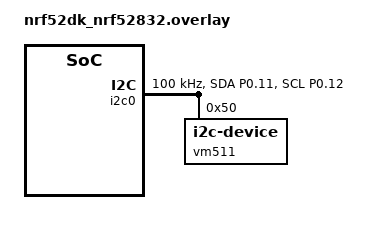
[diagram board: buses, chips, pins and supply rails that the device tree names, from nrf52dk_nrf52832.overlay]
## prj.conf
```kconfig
# Kernel
CONFIG_SERIAL=n#y

CONFIG_CLOCK_CONTROL_NRF_K32SRC_RC=y

CONFIG_BT=y
CONFIG_BT_PERIPHERAL=y
CONFIG_BT_DEVICE_NAME="VM_511"
CONFIG_BT_NUS=y
CONFIG_BT_NUS_LOG_LEVEL_INF=n
CONFIG_BT_MAX_CONN=1
CONFIG_BT_L2CAP_TX_BUF_COUNT=5


# Disable UART console — use RTT so uart0 is free for the sensor
CONFIG_UART_CONSOLE=n
CONFIG_USE_SEGGER_RTT=n#y
CONFIG_RTT_CONSOLE=n#y

# Logging via RTT
CONFIG_LOG=n#y
CONFIG_LOG_BACKEND_RTT=n#y
CONFIG_LOG_BACKEND_UART=n
CONFIG_LOG_DEFAULT_LEVEL=3

CONFIG_FLASH=y
CONFIG_FLASH_MAP=y
CONFIG_FLASH_PAGE_LAYOUT=y
CONFIG_NVS=y

CONFIG_I2C=y

CONFIG_BT_PERIPHERAL_PREF_MIN_INT=1200
CONFIG_BT_PERIPHERAL_PREF_MAX_INT=1200
CONFIG_BT_PERIPHERAL_PREF_LATENCY=0
CONFIG_BT_PERIPHERAL_PREF_TIMEOUT=350
CONFIG_BT_GAP_AUTO_UPDATE_CONN_PARAMS=y

CONFIG_BT_USER_PHY_UPDATE=y

CONFIG_GPIO=y
CONFIG_FPU=y
```

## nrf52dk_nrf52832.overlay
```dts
&pinctrl {
    i2c0_newdefault: i2c0_newdefault {
        group1 {
            psels = <NRF_PSEL(TWIM_SDA, 0, 11)>,
                    <NRF_PSEL(TWIM_SCL, 0, 12)>;
        };
    };

    i2c0_newsleep: i2c0_newsleep {
        group1 {
            psels = <NRF_PSEL(TWIM_SDA, 0, 11)>,
                    <NRF_PSEL(TWIM_SCL, 0, 12)>;
            low-power-enable;
        };
    };
};

&i2c0 {
    status = "okay";
    clock-frequency = <I2C_BITRATE_STANDARD>;
    pinctrl-0 = <&i2c0_newdefault>;       // ✅ moved here
    pinctrl-1 = <&i2c0_newsleep>;         // ✅ moved here
    pinctrl-names = "default", "sleep"; // ✅ required

    vm511: vm511@50 {
        compatible = "i2c-device";
        reg = <0x50>;
        // pinctrl does NOT go here
    };
};
```

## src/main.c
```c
#include <zephyr/kernel.h>
#include <zephyr/device.h>
#include <zephyr/devicetree.h>
#include <zephyr/drivers/i2c.h>
//#include <zephyr/logging/log.h>
#include <zephyr/bluetooth/bluetooth.h>
#include <zephyr/bluetooth/conn.h>
#include <zephyr/bluetooth/gap.h>
#include <bluetooth/services/nus.h>
#include <zephyr/drivers/flash.h>
#include <zephyr/fs/nvs.h>
#include <zephyr/storage/flash_map.h>

#include <stdint.h>
#include <string.h>
#include <stdlib.h>
#include <math.h>

//LOG_MODULE_REGISTER(VM511_BLE, LOG_LEVEL_INF);

/* ---------------- THREAD CONFIG ---------------- */

#define STACKSIZE 2048
#define PRIORITY_CALIB 6
#define PRIORITY_SEND 7
#define NOTIFY_INTERVAL 2000

/* ---------------- NVS IDs ---------------- */

#define EEPROM_TARE_ADDR 1
#define EEPROM_SCALE_ADDR 2
#define EEPROM_FLAG_ADDR 3
#define EEPROM_FLAG_UNIT 4
#define EEPROM_FLAG_INT 5
#define EEPROM_FLAG_DEC 6

#define CAL_DONE 0x55

/* ---------------- VM511 Registers ---------------- */

#define REG_S_FRQ 0x23
#define REG_SYS_STA 0x20
#define REG_SYS_FUN 0x03

/* ---------------- GLOBALS ---------------- */

float K = 0.00035;
float tare = 0;
uint16_t integer;
uint16_t decimal;

static struct nvs_fs fs;

/* ---------------- SEMAPHORES ---------------- */

K_SEM_DEFINE(calib_done_sem, 0, 1);
K_SEM_DEFINE(ble_connected_sem, 0, 1);
K_SEM_DEFINE(init_calib_sem, 0, 1);
K_SEM_DEFINE(load_written, 0, 1);
K_SEM_DEFINE(calib_stop, 0, 1);

/* ---------------- ATOMICS ---------------- */

static atomic_t connected = ATOMIC_INIT(0);
static atomic_t freq_received = ATOMIC_INIT(0);
static atomic_t strain_received = ATOMIC_INIT(0);

/* ---------------- DEVICETREE ---------------- */

#define I2C_NODE DT_NODELABEL(vm511)
static const struct i2c_dt_spec i2c_dev = I2C_DT_SPEC_GET(I2C_NODE);

/* ---------------- BLE GLOBALS ---------------- */

#define DEVICE_NAME CONFIG_BT_DEVICE_NAME
#define DEVICE_NAME_LEN (sizeof(DEVICE_NAME) - 1)

struct bt_conn *my_conn = NULL;

static struct bt_le_adv_param *adv_param = BT_LE_ADV_PARAM(
    (BT_LE_ADV_OPT_CONNECTABLE | BT_LE_ADV_OPT_USE_IDENTITY),
    4800,
    4850,
    NULL);

static const struct bt_data ad[] = {
    BT_DATA_BYTES(BT_DATA_FLAGS, (BT_LE_AD_GENERAL | BT_LE_AD_NO_BREDR)),
    BT_DATA(BT_DATA_NAME_COMPLETE, DEVICE_NAME, DEVICE_NAME_LEN),
};

/* ---------------- NVS INIT ---------------- */

static void nvs_init(void)
{
    struct flash_pages_info info;

    fs.flash_device = DEVICE_DT_GET(DT_CHOSEN(zephyr_flash_controller));
    fs.offset = FIXED_PARTITION_OFFSET(storage_partition);

    flash_get_page_info_by_offs(fs.flash_device, fs.offset, &info);

    fs.sector_size = info.size;
    fs.sector_count = FIXED_PARTITION_SIZE(storage_partition) / fs.sector_size;

    nvs_mount(&fs);
}

/* ---------------- I2C HELPERS ---------------- */

static int vm511_read_reg(uint8_t reg, uint16_t *out)
{
    uint8_t buf[2];

    k_msleep(50); // Short delay before reading
    while(i2c_write_read_dt(&i2c_dev, &reg, 1, buf, 2)){
        //LOG_WRN("Read reg failed, retrying...");
        k_msleep(100);
    }

    *out = ((uint16_t)buf[0] << 8) | buf[1];
    return 0;
}

static int vm511_write_reg(uint8_t reg, uint16_t value)
{
    uint8_t buf[3] = {
        reg,
        (uint8_t)(value >> 8),
        (uint8_t)(value & 0xFF),
    };

    for (int i = 0; i < 3; i++) {
        if (i2c_write_dt(&i2c_dev, buf, sizeof(buf)) == 0) {
            return 0;
        }
    }

    //LOG_ERR("Write reg failed after retries");
    return -EIO;
}

/* ---------------- SENSOR FUNCTIONS ---------------- */

uint16_t hex_value()
{
    uint16_t raw;

    if (vm511_read_reg(REG_S_FRQ, &raw) < 0)
        return 0;

    uint16_t data;
    
    if(vm511_read_reg(REG_SYS_STA, &data))
        return 0;

    if (data & 0x0020) {
        //LOG_WRN("frequency overflow");
        return false;
    }
    if (data & 0x0008) {
        //LOG_WRN("Low signal quality");
        return false;
    }

    return raw;
}

/* ------------------------------------ 
int64_t average(int samples)
{
    int64_t sum = 0;

    for (int i = 0; i < samples; i++)
        sum += hex_value();

    return sum / samples;
}
---------------------------------------
*/

void offset_value(void)
{
    tare = hex_value()/10.0f;
    int ret;
    ret = nvs_write(&fs, EEPROM_TARE_ADDR, &tare, sizeof(tare));
    if (ret < 0) {
        //LOG_ERR("Failed to write tare value");
    }
}

float final_value(void)
{
    float raw = hex_value()/10.0f;
    nvs_read(&fs, EEPROM_TARE_ADDR, &tare, sizeof(tare));


    if (atomic_get(&freq_received)){
        return raw;
         }

    if (atomic_get(&strain_received)){
        float delta = raw - tare;
        return K * delta * (raw + tare);
        }

    if(!raw){

            bt_nus_send(NULL,"LOW SIGNAL RETRY",16);
        }
}

static float k_value(void)
{
    nvs_read(&fs, EEPROM_FLAG_INT, &integer, sizeof(integer));
    nvs_read(&fs, EEPROM_FLAG_DEC, &decimal, sizeof(decimal));
    if (integer == 0 && decimal == 0) {
        return 0.00035f; // Default K value
    }
    else {
        double result = integer * pow(10, -decimal);
        //LOG_INF("k_value: integer=%u decimal=%u", integer, decimal);
        return (float)result;
        
    }
}


/* ---------------- CALIBRATION ---------------- */
/*
void unlock_calibration(void)
{
    uint8_t f = 0xFF;
    nvs_write(&fs, EEPROM_FLAG_ADDR, &f, sizeof(f));
}

bool load_calibration(void)
{
    uint8_t flag;

    if (nvs_read(&fs, EEPROM_FLAG_ADDR, &flag, sizeof(flag)) <= 0)
        return false;

    if (flag != CAL_DONE)
        return false;

    nvs_read(&fs, EEPROM_TARE_ADDR, &tare, sizeof(tare));

    return true;
}

void save_calibration_once(void)
{
    uint8_t flag = CAL_DONE;

    int ret;
    ret = nvs_write(&fs, EEPROM_TARE_ADDR, &tare, sizeof(tare));
    if (ret < 0) {
        LOG_ERR("Failed to write tare value");
    }
    ret = nvs_write(&fs, EEPROM_FLAG_ADDR, &flag, sizeof(flag));
    if (ret < 0) {
        LOG_ERR("Failed to write calibration flag");
    }
}*/


/* ---------------- BLE COMMAND RECEIVER ---------------- */

static void nus_received(struct bt_conn *conn,
                         const uint8_t *const data,
                         uint16_t len)
{
    if (len < 4)
        return;

    int val = data[0] |
              (data[1] << 8) |
              (data[2] << 16) |
              (data[3] << 24);

    //LOG_INF("RX bytes: %02X %02X %02X %02X", data[3], data[2], data[1], data[0]);
    if ((val >> 28) == 0x0) {
        integer = val;
        nvs_write(&fs, EEPROM_FLAG_INT, &integer, sizeof(integer));
    }

    else if ((val >> 28) == 0x5) {
        decimal = val & 0x0FFFFFFF;
        nvs_write(&fs, EEPROM_FLAG_DEC, &decimal, sizeof(decimal));
    }

    else if ((val >> 28) == 0x1) {
        atomic_set(&freq_received, 1);
        atomic_set(&strain_received, 0);
        k_sem_give(&load_written);
        k_sem_give(&calib_done_sem);
    }

    else if ((val >> 28) == 0x2) {
        atomic_set(&strain_received, 1);
        atomic_set(&freq_received, 0);
        k_sem_give(&load_written);
        k_sem_give(&calib_done_sem);
    }

    else if ((val >> 28) == 0x3) {
        //unlock_calibration();
        k_sem_give(&init_calib_sem);
        k_sem_give(&calib_stop);
        
    }
}

/* ---------------- CALIB THREAD ---------------- */

void calibration_thread(void)
{
    k_sem_take(&ble_connected_sem, K_FOREVER);
    char txt[64];

    while(1){
        
        k_sem_take(&calib_stop, K_FOREVER);
        k_sem_take(&init_calib_sem, K_FOREVER);
        //LOG_INF("Perform tare");

        offset_value();
        K = k_value();
        //save_calibration_once();
        
        snprintf(txt, sizeof(txt), "F0 = %.2fHz",tare);
        bt_nus_send(NULL, txt, strlen(txt));
        //LOG_INF("%s",txt);
        k_msleep(100);
        snprintf(txt, sizeof(txt), "K = %f",K);
        bt_nus_send(NULL, txt, strlen(txt));
        //LOG_INF("%s",txt);
    }
    
    
}

/* ---------------- SEND THREAD ---------------- */

void send_thread(void)
{
    char tx_buf[64];

    k_sem_take(&calib_done_sem, K_FOREVER);

    while (1) {

        k_sem_take(&load_written, K_FOREVER);
        float value = final_value();

        
        if(atomic_get(&freq_received)){
                snprintf(tx_buf, sizeof(tx_buf), "F: %.2f Hz\r\n", value);
                atomic_set(&freq_received, 0);
                }
        else if(atomic_get(&strain_received)){
                snprintf(tx_buf, sizeof(tx_buf), "STRAIN: %.2f\r\n", value);
                atomic_set(&strain_received, 0);
                }

        bt_nus_send(NULL, tx_buf, strlen(tx_buf));

        //LOG_INF("Sent: %s", tx_buf);
    }
}

/* ---------------- BLE CONNECTION ---------------- */

void on_connected(struct bt_conn *conn, uint8_t err)
{
    my_conn = bt_conn_ref(conn);
    atomic_set(&connected, 1);

    //LOG_INF("BLE Connected");

    k_sem_give(&ble_connected_sem);
}

static void disconnected_cb(struct bt_conn *conn, uint8_t reason)
{
    if (my_conn) {
        bt_conn_unref(my_conn);
        my_conn = NULL;
    }

    atomic_set(&connected, 0);

    //LOG_INF("BLE Disconnected");
}

struct bt_conn_cb connection_callbacks = {
    .connected = on_connected,
    .disconnected = disconnected_cb,
};

/* ---------------- MAIN ---------------- */

int main(void)
{
    int err;

    err = bt_enable(NULL);
    if (err) {
        //LOG_ERR("BLE init failed");
        return -1;
    }

    bt_conn_cb_register(&connection_callbacks);

    static struct bt_nus_cb nus_cb = {
        .received = nus_received,
    };

    bt_nus_init(&nus_cb);

    bt_le_adv_start(adv_param, ad, ARRAY_SIZE(ad), NULL, 0);

    nvs_init();

    if (!device_is_ready(i2c_dev.bus)) {
        //LOG_ERR("I2C not ready");
        return -1;
    }

    // In main():
    vm511_write_reg(0x0A, 0x000D);  // EX_METH
    k_msleep(3);
    vm511_write_reg(0x0F, 300);     // FS_FMIN = 300 Hz
    k_msleep(3);
    vm511_write_reg(0x10, 8000);    // FS_FMAX = 8000 Hz  ← was 0x01 (BAUD)
    k_msleep(3);
    vm511_write_reg(0x1D, 50);      // EXS_TH = 50% (lower quality threshold)
    k_msleep(3);
    // 1. Bigger sweep step → full re-sweep is faster
    vm511_write_reg(0x11, 5);       // FS_STEP: 5 Hz (default) → 20 Hz
    k_msleep(3);
    // 2. Wider tracking window → fewer full re-sweeps triggered
    vm511_write_reg(0x18, 0x1414);   // FSG_TH: ±50 Hz tracking window (was 0x1414)
    k_msleep(3);
    // 3. Faster measurement cycle
    vm511_write_reg(0x06, 500);      // MM_INTE: 500ms (default) → 200ms
    k_msleep(3);
    vm511_write_reg(0x08, 50);       // RD_INTE: 200ms (default) → 50ms
    k_msleep(3);


    //LOG_INF("VM511 BLE Started");

    return 0;
}

/* ---------------- THREADS ---------------- */

K_THREAD_DEFINE(calib_id,
                STACKSIZE,
                calibration_thread,
                NULL, NULL, NULL,
                PRIORITY_CALIB,
                0, 0);

K_THREAD_DEFINE(send_id,
                STACKSIZE,
                send_thread,
                NULL, NULL, NULL,
                PRIORITY_SEND,
                0, 0);
```
